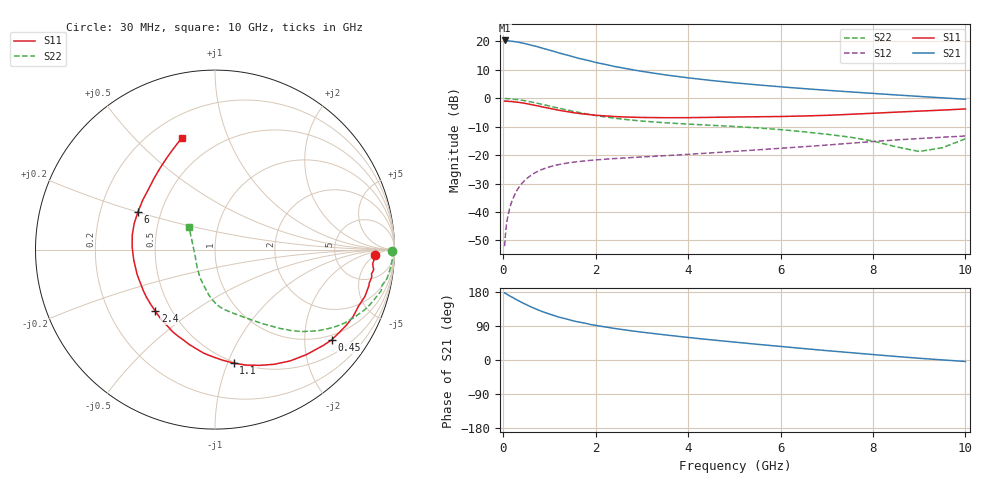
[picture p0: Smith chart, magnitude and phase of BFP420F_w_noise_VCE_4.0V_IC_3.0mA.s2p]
! (c) 2011  Infineon Technologies AG, Munich
! Infineon Technologies  Discrete & RF Semiconductors
! BFP420F
! VCE =  4.0 V,  IC =  3.0 mA
! Common Emitter S-Parameters:  Sep 2011
# GHz  S  MA  R  50
!  f  S11  S21  S12  S22
! GHz  MAG  ANG  MAG  ANG  MAG  ANG  MAG  ANG
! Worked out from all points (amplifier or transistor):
!   54 points, 30 MHz to 10 GHz, reference 50 ohm
!   highest |S21| = 20.4 dB at 40 MHz (marker M1)
!   |S21| within 3 dB of that: start of sweep to 909.1 MHz
!   unconditionally stable (mu >= 1): 2.454 GHz to end of sweep
!   at 120 MHz: K = 0.12, MSG = 30.2 dB, |S12| = -40.2 dB
!   at 1.3 GHz: K = 0.51, MSG = 19.3 dB, |S12| = -23.0 dB
!   at 10 GHz: K = 1.52, MAG = 2.2 dB, |S12| = -13.3 dB
!   lowest NFmin = 0.85 dB at 450 MHz
!   S11 on the Smith chart (normalised r, x): 30 MHz: 16, -5; 450 MHz: 0.86, -2.68; 1.1 GHz: 0.49, -1.05; 2.4 GHz: 0.41, -0.36; 6 GHz: 0.37, +0.20; 10 GHz: 0.32, +0.70
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0.03  0.8923 -2.1  10.41 177.1  0.0025 73.3  0.9865 -0.5
0.04  0.8903 -2.9  10.42 176.4  0.0034 76.6  0.9891 -0.8
0.13  0.8821 -11.4  10.21 169.8  0.0108 80.5  0.9819 -6.2
0.25  0.8596 -21.4  9.915 161.7  0.0202 76.6  0.9518 -12.0
0.45  0.8221 -37.7  9.255 149.0  0.0349 68.8  0.9119 -20.2
0.6  0.776 -48.9  8.625 140.2  0.0441 63.0  0.8633 -25.9
0.7  0.7482 -56.0  8.255 135.0  0.0496 59.7  0.8312 -29.4
0.9  0.6913 -68.9  7.408 125.4  0.0584 53.9  0.7636 -35.4
1.1  0.6409 -80.7  6.68 117.2  0.0654 49.1  0.7 -40.5
1.2  0.6175 -86.1  6.299 113.4  0.0681 47.3  0.6715 -42.8
1.5  0.5614 -100.9  5.42 103.7  0.0748 42.6  0.5938 -48.5
1.7  0.5331 -109.4  4.911 98.7  0.0781 40.3  0.5501 -51.9
2  0.5031 -121.2  4.271 91.3  0.0823 37.7  0.4984 -56.5
2.4  0.4778 -134.2  3.644 83.4  0.0869 35.7  0.448 -61.8
3.5  0.4555 -162.2  2.587 66.3  0.0978 34.1  0.371 -73.6
4.5  0.462 178.2  2.059 53.2  0.1096 34.2  0.3351 -81.8
5.5  0.4734 161.8  1.723 41.4  0.1238 34.2  0.3016 -89.0
6  0.478 153.7  1.594 35.8  0.132 34.0  0.2811 -92.7
7  0.5013 137.4  1.384 24.7  0.1502 32.8  0.2329 -101.8
8.5  0.5705 119.0  1.146 9.3  0.1849 28.2  0.1402 -135.2
9  0.5948 114.6  1.079 4.6  0.1957 25.9  0.1159 -164.0
10  0.6492 106.5  0.962 -3.9  0.2169 21.2  0.1941 138.6
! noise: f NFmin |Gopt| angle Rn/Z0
0.45  0.85  0.4  15  0.19
0.9  0.9  0.38  35  0.21
1.9  1.14  0.29  89  0.16
2.4  1.25  0.29  101  0.16
3.5  1.61  0.32  139  0.17
